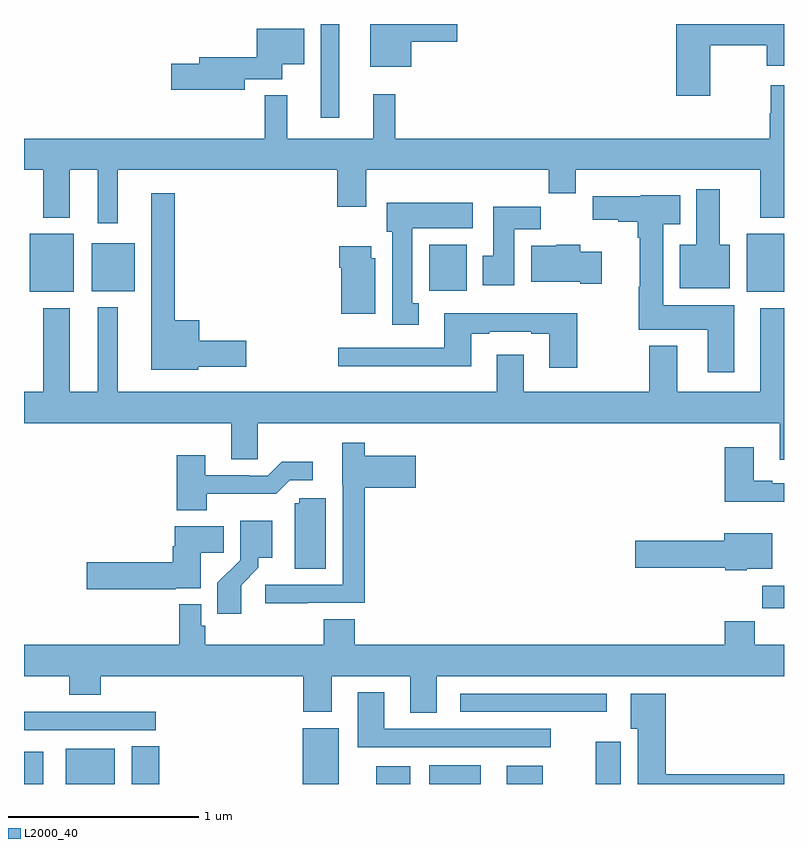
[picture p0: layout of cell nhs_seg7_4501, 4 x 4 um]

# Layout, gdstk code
import gdstk
lib = gdstk.Library(unit=1e-6, precision=1e-09)
def R(c, l, rs):  # rectangles x0, y0, x1, y1
    for r in rs: c.add(gdstk.rectangle(r[:2], r[2:], *l))
def P(c, l, *ps):  # polygons
    for p in ps: c.add(gdstk.Polygon(p, *l))
L2000_40 = (2000, 40)

nhs_seg7_4501 = lib.new_cell('nhs_seg7_4501')
R(nhs_seg7_4501, L2000_40, [(393,1048,393.1,1048.171), (393.221,1048,393.478,1048.186), (393.566,1048,393.713,1048.199), (394.466,1048,394.657,1048.294), (394.853,1048,395.032,1048.093), (395.132,1048,395.404,1048.099), (395.54,1048,395.731,1048.096), (396.008,1048,396.142,1048.222), (393,1048.284,393.694,1048.38), (395.295,1048.38,396.067,1048.476), (396.886,1048.926,397,1049.044), (393.029,1050.59,393.262,1050.895), (396.803,1050.59,397,1050.895), (393.356,1050.593,393.583,1050.847), (395.132,1050.596,395.329,1050.838), (394.563,1051.506,394.66,1052)])
P(nhs_seg7_4501, L2000_40, [(396.612,1051.888),(396.908,1051.888),(396.908,1051.781),(397,1051.781),(397,1052),(396.434,1052),(396.434,1051.623),(396.612,1051.623)],
  [(395.038,1051.907),(395.281,1051.907),(395.281,1052),(394.823,1052),(394.823,1051.775),(395.038,1051.775)],
  [(394.162,1051.71),(394.36,1051.71),(394.36,1051.787),(394.474,1051.787),(394.474,1051.975),(394.226,1051.975),(394.226,1051.826),(393.923,1051.826),(393.923,1051.79),(393.774,1051.79),(393.774,1051.655),(394.162,1051.655)],
  [(393.493,1051.232),(394.649,1051.232),(394.649,1051.038),(394.801,1051.038),(394.801,1051.232),(395.761,1051.232),(395.761,1051.108),(395.905,1051.108),(395.905,1051.232),(396.875,1051.232),(396.875,1050.98),(397,1050.98),(397,1051.678),(396.931,1051.678),(396.931,1051.529),(396.924,1051.529),(396.924,1051.396),(394.955,1051.396),(394.955,1051.63),(394.838,1051.63),(394.838,1051.396),(394.385,1051.396),(394.385,1051.625),(394.267,1051.625),(394.267,1051.396),(393,1051.396),(393,1051.232),(393.101,1051.232),(393.101,1050.98),(393.241,1050.98),(393.241,1051.232),(393.389,1051.232),(393.389,1050.951),(393.493,1050.951)],
  [(396.715,1050.838),(396.661,1050.838),(396.661,1051.129),(396.539,1051.129),(396.539,1050.838),(396.452,1050.838),(396.452,1050.608),(396.715,1050.608)],
  [(393.918,1050.197),(394.171,1050.197),(394.171,1050.332),(393.922,1050.332),(393.922,1050.442),(393.793,1050.442),(393.793,1051.108),(393.671,1051.108),(393.671,1050.179),(393.918,1050.179)],
  [(396.739,1050.52),(396.364,1050.52),(396.364,1050.947),(396.454,1050.947),(396.454,1051.099),(396.246,1051.099),(396.246,1051.093),(395.994,1051.093),(395.994,1050.971),(396.127,1050.971),(396.127,1050.959),(396.23,1050.959),(396.23,1050.875),(396.242,1050.875),(396.242,1050.616),(396.235,1050.616),(396.235,1050.392),(396.599,1050.392),(396.599,1050.168),(396.739,1050.168)],
  [(395.077,1050.53),(395.044,1050.53),(395.044,1050.926),(395.362,1050.926),(395.362,1051.06),(394.91,1051.06),(394.91,1050.906),(394.937,1050.906),(394.937,1050.417),(395.077,1050.417)],
  [(395.581,1050.92),(395.72,1050.92),(395.72,1051.039),(395.471,1051.039),(395.471,1050.78),(395.414,1050.78),(395.414,1050.624),(395.581,1050.624)],
  [(396.04,1050.802),(395.928,1050.802),(395.928,1050.838),(395.802,1050.838),(395.802,1050.832),(395.669,1050.832),(395.669,1050.644),(395.927,1050.644),(395.927,1050.632),(396.04,1050.632)],
  [(394.849,1050.768),(394.828,1050.768),(394.828,1050.829),(394.658,1050.829),(394.658,1050.716),(394.67,1050.716),(394.67,1050.476),(394.849,1050.476)],
  [(393.101,1050.505),(393.101,1050.064),(393,1050.064),(393,1049.9),(394.091,1049.9),(394.091,1049.71),(394.23,1049.71),(394.23,1049.9),(396.977,1049.9),(396.977,1049.706),(397,1049.706),(397,1050.505),(396.875,1050.505),(396.875,1050.064),(396.439,1050.064),(396.439,1050.307),(396.292,1050.307),(396.292,1050.064),(395.629,1050.064),(395.629,1050.259),(395.489,1050.259),(395.489,1050.064),(393.493,1050.064),(393.493,1050.508),(393.389,1050.508),(393.389,1050.064),(393.241,1050.064),(393.241,1050.505)],
  [(395.913,1050.478),(395.213,1050.478),(395.213,1050.297),(394.653,1050.297),(394.653,1050.2),(395.353,1050.2),(395.353,1050.369),(395.449,1050.369),(395.449,1050.381),(395.669,1050.381),(395.669,1050.369),(395.765,1050.369),(395.765,1050.192),(395.913,1050.192)],
  [(394.493,1048.953),(394.793,1048.953),(394.793,1049.558),(395.062,1049.558),(395.062,1049.728),(394.793,1049.728),(394.793,1049.797),(394.676,1049.797),(394.676,1049.574),(394.677,1049.574),(394.677,1049.049),(394.269,1049.049),(394.269,1048.951),(394.493,1048.951)],
  [(397,1049.583),(396.937,1049.583),(396.937,1049.596),(396.841,1049.596),(396.841,1049.773),(396.689,1049.773),(396.689,1049.486),(397,1049.486)],
  [(393.963,1049.528),(394.327,1049.528),(394.398,1049.598),(394.519,1049.598),(394.519,1049.695),(394.357,1049.695),(394.284,1049.622),(394.184,1049.622),(394.184,1049.625),(393.955,1049.625),(393.955,1049.731),(393.803,1049.731),(393.803,1049.441),(393.963,1049.441)],
  [(394.588,1049.505),(394.449,1049.505),(394.449,1049.478),(394.424,1049.478),(394.424,1049.134),(394.588,1049.134)],
  [(394.144,1049.047),(394.234,1049.137),(394.234,1049.192),(394.306,1049.192),(394.306,1049.386),(394.137,1049.386),(394.137,1049.177),(394.018,1049.058),(394.018,1048.896),(394.144,1048.896)],
  [(393.798,1049.03),(393.931,1049.03),(393.931,1049.218),(394.052,1049.218),(394.052,1049.356),(393.794,1049.356),(393.794,1049.252),(393.782,1049.252),(393.782,1049.168),(393.33,1049.168),(393.33,1049.026),(393.798,1049.026)],
  [(396.804,1049.132),(396.937,1049.132),(396.937,1049.32),(396.686,1049.32),(396.686,1049.279),(396.216,1049.279),(396.216,1049.137),(396.69,1049.137),(396.69,1049.126),(396.804,1049.126)],
  [(393,1048.568),(393.239,1048.568),(393.239,1048.469),(393.404,1048.469),(393.404,1048.568),(394.469,1048.568),(394.469,1048.379),(394.621,1048.379),(394.621,1048.568),(395.033,1048.568),(395.033,1048.375),(395.173,1048.375),(395.173,1048.568),(397,1048.568),(397,1048.732),(396.845,1048.732),(396.845,1048.856),(396.689,1048.856),(396.689,1048.732),(394.742,1048.732),(394.742,1048.868),(394.577,1048.868),(394.577,1048.732),(393.953,1048.732),(393.953,1048.833),(393.933,1048.833),(393.933,1048.945),(393.817,1048.945),(393.817,1048.732),(393,1048.732)],
  [(395.773,1048.29),(394.897,1048.29),(394.897,1048.483),(394.757,1048.483),(394.757,1048.194),(395.773,1048.194)],
  [(397,1048.052),(396.377,1048.052),(396.377,1048.474),(396.194,1048.474),(396.194,1048.292),(396.23,1048.292),(396.23,1048),(397,1048)])

lib.write_gds('nhs_seg7_4501.gds')
